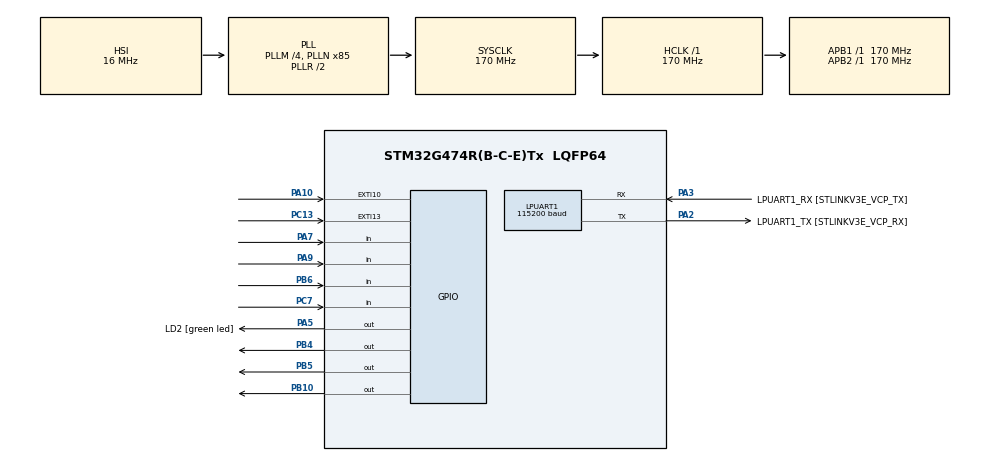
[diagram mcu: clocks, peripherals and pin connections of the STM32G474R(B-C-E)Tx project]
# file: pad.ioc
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LPUART1.BaudRate=115200
LPUART1.WordLength=UART_WORDLENGTH_8B
Mcu.Family=STM32G4
Mcu.Name=STM32G474R(B-C-E)Tx
Mcu.Package=LQFP64
NVIC.EXTI15_10_IRQn=true\:0\:0\:false\:false\:true\:true\:true\:true
NVIC.PriorityGroup=NVIC_PRIORITYGROUP_4
PA10.GPIO_ModeDefaultEXTI=GPIO_MODE_IT_RISING
PA10.GPIO_PuPd=GPIO_NOPULL
PA10.Signal=GPXTI10
PA13.GPIO_Label=T_SWDIO
PA13.Mode=Serial_Wire
PA13.Signal=SYS_JTMS-SWDIO
PA14.GPIO_Label=T_SWCLK
PA14.Mode=Serial_Wire
PA14.Signal=SYS_JTCK-SWCLK
PA2.GPIO_Label=LPUART1_TX [STLINKV3E_VCP_RX]
PA2.Mode=Asynchronous
PA2.Signal=LPUART1_TX
PA3.GPIO_Label=LPUART1_RX [STLINKV3E_VCP_TX]
PA3.Mode=Asynchronous
PA3.Signal=LPUART1_RX
PA5.GPIO_Label=LD2 [green led]
PA5.GPIO_ModeDefaultOutputPP=GPIO_MODE_OUTPUT_PP
PA5.GPIO_PuPd=GPIO_NOPULL
PA5.Signal=GPIO_Output
PA7.GPIO_Mode=GPIO_MODE_INPUT
PA7.GPIO_PuPd=GPIO_PULLUP
PA7.Signal=GPIO_Input
PA9.GPIO_Mode=GPIO_MODE_INPUT
PA9.GPIO_PuPd=GPIO_PULLUP
PA9.Signal=GPIO_Input
PB10.GPIO_ModeDefaultOutputPP=GPIO_MODE_OUTPUT_OD
PB10.GPIO_PuPd=GPIO_NOPULL
PB10.Signal=GPIO_Output
PB3.GPIO_Label=T_SWO
PB3.Signal=SYS_JTDO-SWO
PB4.GPIO_ModeDefaultOutputPP=GPIO_MODE_OUTPUT_OD
PB4.GPIO_PuPd=GPIO_NOPULL
PB4.Signal=GPIO_Output
PB5.GPIO_ModeDefaultOutputPP=GPIO_MODE_OUTPUT_OD
PB5.GPIO_PuPd=GPIO_NOPULL
PB5.Signal=GPIO_Output
PB6.GPIO_Mode=GPIO_MODE_INPUT
PB6.GPIO_PuPd=GPIO_PULLUP
PB6.Signal=GPIO_Input
PC13.Signal=GPXTI13
PC14-OSC32_IN.Mode=LSE-External-Oscillator
PC14-OSC32_IN.Signal=RCC_OSC32_IN
PC15-OSC32_OUT.Mode=LSE-External-Oscillator
PC15-OSC32_OUT.Signal=RCC_OSC32_OUT
PC7.GPIO_Mode=GPIO_MODE_INPUT
PC7.GPIO_PuPd=GPIO_PULLUP
PC7.Signal=GPIO_Input
PF0-OSC_IN.Mode=HSE-External-Oscillator
PF0-OSC_IN.Signal=RCC_OSC_IN
PF1-OSC_OUT.Mode=HSE-External-Oscillator
PF1-OSC_OUT.Signal=RCC_OSC_OUT
ProjectManager.HeapSize=0x200
ProjectManager.StackSize=0x400
ProjectManager.TargetToolchain=STM32CubeIDE
RCC.ADC12Freq_Value=170000000
RCC.ADC345Freq_Value=170000000
RCC.AHBFreq_Value=170000000
RCC.APB1Freq_Value=170000000
RCC.APB1TimFreq_Value=170000000
RCC.APB2Freq_Value=170000000
RCC.APB2TimFreq_Value=170000000
RCC.CortexFreq_Value=170000000
RCC.EXTERNAL_CLOCK_VALUE=12288000
RCC.HCLKFreq_Value=170000000
RCC.HSE_VALUE=24000000
RCC.HSI48_VALUE=48000000
RCC.HSI_VALUE=16000000
RCC.PLLM=RCC_PLLM_DIV4
RCC.PLLN=85
RCC.RTCClockSelection=RCC_RTCCLKSOURCE_LSE
RCC.SYSCLKFreq_VALUE=170000000
RCC.SYSCLKSource=RCC_SYSCLKSOURCE_PLLCLK
RCC.USBFreq_Value=170000000
RCC.VCOOutputFreq_Value=340000000
VP_SYS_VS_DBSignals.Mode=DisableDeadBatterySignals
board=NUCLEO-G474RE

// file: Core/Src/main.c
/* USER CODE BEGIN Header */
/**
  ******************************************************************************
  * @file           : main.c
  * @brief          : Main program body
  ******************************************************************************
  * @attention
  *
  * Copyright (c) 2023 STMicroelectronics.
  * All rights reserved.
  *
  * This software is licensed under terms that can be found in the LICENSE file
  * in the root directory of this software component.
  * If no LICENSE file comes with this software, it is provided AS-IS.
  *
  ******************************************************************************
  */
/* USER CODE END Header */
#include "main.h"

UART_HandleTypeDef hlpuart1;

/* USER CODE BEGIN PV */
struct _ButMtx_Struct
	{
		GPIO_TypeDef* Port;
		uint16_t Pin;
	};

struct _ButMtx_Struct BMX_L[4] = {
		{GPIOA,GPIO_PIN_9},
		{GPIOC,GPIO_PIN_7},
		{GPIOB,GPIO_PIN_6},
		{GPIOA,GPIO_PIN_7}
	};

struct _ButMtx_Struct BMX_R[4] = {
		{GPIOB,GPIO_PIN_5},
		{GPIOB,GPIO_PIN_4},
		{GPIOB,GPIO_PIN_10}

	};

uint16_t ButtonState = 0;
uint16_t Num = 0;
int arr[11];
int n = 0;
int ID[11] = {6,5,3,4,0,5,0,0,0,1,8};
int State = 0;
/* USER CODE END PV */

void SystemClock_Config(void);
static void MX_GPIO_Init(void);
static void MX_LPUART1_UART_Init(void);
/* USER CODE BEGIN PFP */
void ButtonMatrixRead();
void Numpad();
void CheckNumber();
/* USER CODE END PFP */

int main(void)
{

  /* MCU Configuration--------------------------------------------------------*/

  /* Reset of all peripherals, Initializes the Flash interface and the Systick. */
  HAL_Init();

  /* Configure the system clock */
  SystemClock_Config();

  /* Initialize all configured peripherals */
  MX_GPIO_Init();
  MX_LPUART1_UART_Init();

  /* Infinite loop */
  while (1)
  {

    /* USER CODE BEGIN 3 */
	  static uint32_t BTMX_TimeStamp = 0;
	  if(HAL_GetTick() > BTMX_TimeStamp)
	  {
		  BTMX_TimeStamp = HAL_GetTick() + 25; //next scan in 25 ms
		  ButtonMatrixRead();
		  Numpad();
		  CheckNumber();
	  }
  }
  /* USER CODE END 3 */
}

void SystemClock_Config(void)
{
  RCC_OscInitTypeDef RCC_OscInitStruct = {0};
  RCC_ClkInitTypeDef RCC_ClkInitStruct = {0};

  /** Configure the main internal regulator output voltage
  */
  HAL_PWREx_ControlVoltageScaling(PWR_REGULATOR_VOLTAGE_SCALE1_BOOST);

  /** Initializes the RCC Oscillators according to the specified parameters
  * in the RCC_OscInitTypeDef structure.
  */
  RCC_OscInitStruct.OscillatorType = RCC_OSCILLATORTYPE_HSI;
  RCC_OscInitStruct.HSIState = RCC_HSI_ON;
  RCC_OscInitStruct.HSICalibrationValue = RCC_HSICALIBRATION_DEFAULT;
  RCC_OscInitStruct.PLL.PLLState = RCC_PLL_ON;
  RCC_OscInitStruct.PLL.PLLSource = RCC_PLLSOURCE_HSI;
  RCC_OscInitStruct.PLL.PLLM = RCC_PLLM_DIV4;
  RCC_OscInitStruct.PLL.PLLN = 85;
  RCC_OscInitStruct.PLL.PLLP = RCC_PLLP_DIV2;
  RCC_OscInitStruct.PLL.PLLQ = RCC_PLLQ_DIV2;
  RCC_OscInitStruct.PLL.PLLR = RCC_PLLR_DIV2;
  if (HAL_RCC_OscConfig(&RCC_OscInitStruct) != HAL_OK)
  {
    Error_Handler();
  }

  /** Initializes the CPU, AHB and APB buses clocks
  */
  RCC_ClkInitStruct.ClockType = RCC_CLOCKTYPE_HCLK|RCC_CLOCKTYPE_SYSCLK
                              |RCC_CLOCKTYPE_PCLK1|RCC_CLOCKTYPE_PCLK2;
  RCC_ClkInitStruct.SYSCLKSource = RCC_SYSCLKSOURCE_PLLCLK;
  RCC_ClkInitStruct.AHBCLKDivider = RCC_SYSCLK_DIV1;
  RCC_ClkInitStruct.APB1CLKDivider = RCC_HCLK_DIV1;
  RCC_ClkInitStruct.APB2CLKDivider = RCC_HCLK_DIV1;

  if (HAL_RCC_ClockConfig(&RCC_ClkInitStruct, FLASH_LATENCY_4) != HAL_OK)
  {
    Error_Handler();
  }
}

static void MX_LPUART1_UART_Init(void)
{

  hlpuart1.Instance = LPUART1;
  hlpuart1.Init.BaudRate = 115200;
  hlpuart1.Init.WordLength = UART_WORDLENGTH_8B;
  hlpuart1.Init.StopBits = UART_STOPBITS_1;
  hlpuart1.Init.Parity = UART_PARITY_NONE;
  hlpuart1.Init.Mode = UART_MODE_TX_RX;
  hlpuart1.Init.HwFlowCtl = UART_HWCONTROL_NONE;
  hlpuart1.Init.OneBitSampling = UART_ONE_BIT_SAMPLE_DISABLE;
  hlpuart1.Init.ClockPrescaler = UART_PRESCALER_DIV1;
  hlpuart1.AdvancedInit.AdvFeatureInit = UART_ADVFEATURE_NO_INIT;
  if (HAL_UART_Init(&hlpuart1) != HAL_OK)
  {
    Error_Handler();
  }
  if (HAL_UARTEx_SetTxFifoThreshold(&hlpuart1, UART_TXFIFO_THRESHOLD_1_8) != HAL_OK)
  {
    Error_Handler();
  }
  if (HAL_UARTEx_SetRxFifoThreshold(&hlpuart1, UART_RXFIFO_THRESHOLD_1_8) != HAL_OK)
  {
    Error_Handler();
  }
  if (HAL_UARTEx_DisableFifoMode(&hlpuart1) != HAL_OK)
  {
    Error_Handler();
  }

}

static void MX_GPIO_Init(void)
{
  GPIO_InitTypeDef GPIO_InitStruct = {0};

  /* GPIO Ports Clock Enable */
  __HAL_RCC_GPIOC_CLK_ENABLE();
  __HAL_RCC_GPIOF_CLK_ENABLE();
  __HAL_RCC_GPIOA_CLK_ENABLE();
  __HAL_RCC_GPIOB_CLK_ENABLE();

  /*Configure GPIO pin Output Level */
  HAL_GPIO_WritePin(LD2_GPIO_Port, LD2_Pin, GPIO_PIN_RESET);

  /*Configure GPIO pin Output Level */
  HAL_GPIO_WritePin(GPIOB, GPIO_PIN_10|GPIO_PIN_4|GPIO_PIN_5, GPIO_PIN_RESET);

  /*Configure GPIO pin : PC13 */
  GPIO_InitStruct.Pin = GPIO_PIN_13;
  GPIO_InitStruct.Mode = GPIO_MODE_IT_RISING;
  GPIO_InitStruct.Pull = GPIO_NOPULL;
  HAL_GPIO_Init(GPIOC, &GPIO_InitStruct);

  /*Configure GPIO pin : LD2_Pin */
  GPIO_InitStruct.Pin = LD2_Pin;
  GPIO_InitStruct.Mode = GPIO_MODE_OUTPUT_PP;
  GPIO_InitStruct.Pull = GPIO_NOPULL;
  GPIO_InitStruct.Speed = GPIO_SPEED_FREQ_LOW;
  HAL_GPIO_Init(LD2_GPIO_Port, &GPIO_InitStruct);

  /*Configure GPIO pins : PA7 PA9 */
  GPIO_InitStruct.Pin = GPIO_PIN_7|GPIO_PIN_9;
  GPIO_InitStruct.Mode = GPIO_MODE_INPUT;
  GPIO_InitStruct.Pull = GPIO_PULLUP;
  HAL_GPIO_Init(GPIOA, &GPIO_InitStruct);

  /*Configure GPIO pins : PB10 PB4 PB5 */
  GPIO_InitStruct.Pin = GPIO_PIN_10|GPIO_PIN_4|GPIO_PIN_5;
  GPIO_InitStruct.Mode = GPIO_MODE_OUTPUT_OD;
  GPIO_InitStruct.Pull = GPIO_NOPULL;
  GPIO_InitStruct.Speed = GPIO_SPEED_FREQ_LOW;
  HAL_GPIO_Init(GPIOB, &GPIO_InitStruct);

  /*Configure GPIO pin : PC7 */
  GPIO_InitStruct.Pin = GPIO_PIN_7;
  GPIO_InitStruct.Mode = GPIO_MODE_INPUT;
  GPIO_InitStruct.Pull = GPIO_PULLUP;
  HAL_GPIO_Init(GPIOC, &GPIO_InitStruct);

  /*Configure GPIO pin : PA10 */
  GPIO_InitStruct.Pin = GPIO_PIN_10;
  GPIO_InitStruct.Mode = GPIO_MODE_IT_RISING;
  GPIO_InitStruct.Pull = GPIO_NOPULL;
  HAL_GPIO_Init(GPIOA, &GPIO_InitStruct);

  /*Configure GPIO pin : PB6 */
  GPIO_InitStruct.Pin = GPIO_PIN_6;
  GPIO_InitStruct.Mode = GPIO_MODE_INPUT;
  GPIO_InitStruct.Pull = GPIO_PULLUP;
  HAL_GPIO_Init(GPIOB, &GPIO_InitStruct);

  /* EXTI interrupt init*/
  HAL_NVIC_SetPriority(EXTI15_10_IRQn, 0, 0);
  HAL_NVIC_EnableIRQ(EXTI15_10_IRQn);

}

/* USER CODE BEGIN 4 */
void ButtonMatrixRead()
{
	static uint8_t X=0;
	for(int i=0; i<4; i++)
	{
		if(HAL_GPIO_ReadPin(BMX_L[i].Port, BMX_L[i].Pin) == GPIO_PIN_RESET)
	{ //ปุ่มถู�?�?ด
			ButtonState |= 1 << (i + (X * 4));
	}
		else
		{
			ButtonState &= ~(1 << (i + (X * 4)));
		}
}
//set currentL to Hi-z (open drain)
HAL_GPIO_WritePin(BMX_R[X].Port, BMX_R[X].Pin, GPIO_PIN_SET);
//set nextL to low
uint8_t nextX = (X + 1) % 3;
HAL_GPIO_WritePin(BMX_R[nextX].Port, BMX_R[nextX].Pin, GPIO_PIN_RESET);
X = nextX;
}

void Numpad()
{
	switch(ButtonState)
	{
		case 8:
			Num = 0;
			break;
		case 4:
			Num = 1;
			break;
		case 64:
			Num = 2;
			break;
		case 1024:
			Num = 3;
			break;
		case 2:
			Num = 4;
			break;
		case 32:
			Num = 5;
			break;
		case 512:
			Num = 6;
			break;
		case 1:
			Num = 7;
			break;
		case 16:
			Num = 8;
			break;
		case 256:
			Num = 9;
			break;
	}
}
void CheckNumber()
{
	if(ButtonState != 0 && ButtonState != 128 && ButtonState != 2048 )
	{
		State = 1;
	}
	if(State == 1)
	{
		if(ButtonState == 0 )
		{
			if(n<11){
				arr[n] = Num;
				n++;
				State = 0;
			}
		}
	}
	if(memcmp(arr,ID,sizeof(ID))== 0 && ButtonState == 2048)
		{
			HAL_GPIO_WritePin(GPIOA, GPIO_PIN_5,GPIO_PIN_SET);
		}
}
void HAL_GPIO_EXTI_Callback(uint16_t GPIO_Pin)
{
	if(GPIO_Pin == GPIO_PIN_10)
	{
		n = 0;
		Num = 0;
		memset(arr,0,sizeof(arr));
		State = 0;
		HAL_GPIO_WritePin(GPIOA, GPIO_PIN_5,GPIO_PIN_RESET);
	}
}
/* USER CODE END 4 */

void Error_Handler(void)
{
  __disable_irq();
  while (1)
  {
  }
}
